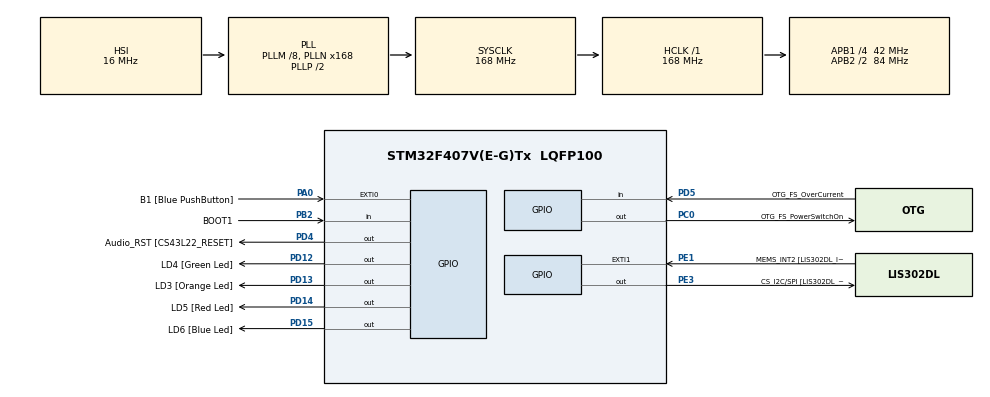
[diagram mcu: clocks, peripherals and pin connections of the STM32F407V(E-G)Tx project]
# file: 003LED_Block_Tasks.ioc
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Mcu.Family=STM32F4
Mcu.Name=STM32F407V(E-G)Tx
Mcu.Package=LQFP100
NVIC.PriorityGroup=NVIC_PRIORITYGROUP_4
NVIC.TIM6_DAC_IRQn=true\:0\:0\:false\:false\:true\:false\:true
NVIC.TimeBase=TIM6_DAC_IRQn
NVIC.TimeBaseIP=TIM6
PA0-WKUP.GPIO_Label=B1 [Blue PushButton]
PA0-WKUP.Signal=GPXTI0
PA10.GPIO_Label=OTG_FS_ID
PA10.GPIO_Mode=GPIO_MODE_AF_PP
PA10.GPIO_PuPd=GPIO_NOPULL
PA10.GPIO_Speed=GPIO_SPEED_FREQ_LOW
PA10.Signal=USB_OTG_FS_ID
PA11.GPIO_Label=OTG_FS_DM
PA11.GPIO_Mode=GPIO_MODE_AF_PP
PA11.GPIO_PuPd=GPIO_NOPULL
PA11.GPIO_Speed=GPIO_SPEED_FREQ_LOW
PA11.Signal=USB_OTG_FS_DM
PA12.GPIO_Label=OTG_FS_DP
PA12.GPIO_Mode=GPIO_MODE_AF_PP
PA12.GPIO_PuPd=GPIO_NOPULL
PA12.GPIO_Speed=GPIO_SPEED_FREQ_LOW
PA12.Signal=USB_OTG_FS_DP
PA13.GPIO_Label=SWDIO
PA13.Signal=SYS_JTMS-SWDIO
PA14.GPIO_Label=SWCLK
PA14.Signal=SYS_JTCK-SWCLK
PA4.GPIO_Label=I2S3_WS [CS43L22_LRCK]
PA4.GPIO_Mode=GPIO_MODE_AF_PP
PA4.GPIO_PuPd=GPIO_NOPULL
PA4.GPIO_Speed=GPIO_SPEED_FREQ_LOW
PA4.Signal=I2S3_WS
PA5.GPIO_Label=SPI1_SCK [LIS302DL_SCL/SPC]
PA5.GPIO_Mode=GPIO_MODE_AF_PP
PA5.GPIO_PuPd=GPIO_NOPULL
PA5.GPIO_Speed=GPIO_SPEED_FREQ_LOW
PA5.Signal=SPI1_SCK
PA6.GPIO_Label=SPI1_MISO [LIS302DL_SDO]
PA6.GPIO_Mode=GPIO_MODE_AF_PP
PA6.GPIO_PuPd=GPIO_NOPULL
PA6.GPIO_Speed=GPIO_SPEED_FREQ_LOW
PA6.Signal=SPI1_MISO
PA7.GPIO_Label=SPI1_MOSI [LIS302DL_SDA/SDI/SDO]
PA7.GPIO_Mode=GPIO_MODE_AF_PP
PA7.GPIO_PuPd=GPIO_NOPULL
PA7.GPIO_Speed=GPIO_SPEED_FREQ_LOW
PA7.Signal=SPI1_MOSI
PA9.GPIO_Label=VBUS_FS
PA9.GPIO_Mode=GPIO_MODE_INPUT
PA9.GPIO_PuPd=GPIO_NOPULL
PA9.Signal=USB_OTG_FS_VBUS
PB10.GPIO_Label=CLK_IN [MP45DT02_CLK]
PB10.GPIO_Mode=GPIO_MODE_AF_PP
PB10.GPIO_PuPd=GPIO_NOPULL
PB10.GPIO_Speed=GPIO_SPEED_FREQ_LOW
PB10.Signal=I2S2_CK
PB2.GPIO_Label=BOOT1
PB2.GPIO_Mode=GPIO_MODE_INPUT
PB2.GPIO_PuPd=GPIO_NOPULL
PB2.Signal=GPIO_Input
PB3.GPIO_Label=SWO
PB3.Signal=SYS_JTDO-SWO
PB6.GPIO_Label=Audio_SCL [CS43L22_SCL]
PB6.GPIO_Mode=GPIO_MODE_AF_OD
PB6.GPIO_PuPd=GPIO_NOPULL
PB6.GPIO_Speed=GPIO_SPEED_FREQ_LOW
PB6.Signal=I2C1_SCL
PB9.GPIO_Label=Audio_SDA [CS43L22_SDA]
PB9.GPIO_Mode=GPIO_MODE_AF_OD
PB9.GPIO_PuPd=GPIO_NOPULL
PB9.GPIO_Speed=GPIO_SPEED_FREQ_LOW
PB9.Signal=I2C1_SDA
PC0.GPIO_Label=OTG_FS_PowerSwitchOn
PC0.GPIO_PuPd=GPIO_NOPULL
PC0.GPIO_Speed=GPIO_SPEED_FREQ_LOW
PC0.PinState=GPIO_PIN_SET
PC0.Signal=GPIO_Output
PC10.GPIO_Label=I2S3_SCK [CS43L22_SCLK]
PC10.GPIO_Mode=GPIO_MODE_AF_PP
PC10.GPIO_PuPd=GPIO_NOPULL
PC10.GPIO_Speed=GPIO_SPEED_FREQ_LOW
PC10.Signal=I2S3_CK
PC12.GPIO_Label=I2S3_SD [CS43L22_SDIN]
PC12.GPIO_Mode=GPIO_MODE_AF_PP
PC12.GPIO_PuPd=GPIO_NOPULL
PC12.GPIO_Speed=GPIO_SPEED_FREQ_LOW
PC12.Signal=I2S3_SD
PC14-OSC32_IN.GPIO_Label=PC14-OSC32_IN
PC14-OSC32_IN.Signal=RCC_OSC32_IN
PC15-OSC32_OUT.GPIO_Label=PC15-OSC32_OUT
PC15-OSC32_OUT.Signal=RCC_OSC32_OUT
PC3.GPIO_Label=PDM_OUT [MP45DT02_DOUT]
PC3.GPIO_Mode=GPIO_MODE_AF_PP
PC3.GPIO_PuPd=GPIO_NOPULL
PC3.GPIO_Speed=GPIO_SPEED_FREQ_LOW
PC3.Signal=I2S2_SD
PC7.GPIO_Label=I2S3_MCK [CS43L22_MCLK]
PC7.GPIO_Mode=GPIO_MODE_AF_PP
PC7.GPIO_PuPd=GPIO_NOPULL
PC7.GPIO_Speed=GPIO_SPEED_FREQ_LOW
PC7.Signal=I2S3_MCK
PD12.GPIO_Label=LD4 [Green Led]
PD12.GPIO_PuPd=GPIO_NOPULL
PD12.GPIO_Speed=GPIO_SPEED_FREQ_LOW
PD12.Signal=GPIO_Output
PD13.GPIO_Label=LD3 [Orange Led]
PD13.GPIO_PuPd=GPIO_NOPULL
PD13.GPIO_Speed=GPIO_SPEED_FREQ_LOW
PD13.Signal=GPIO_Output
PD14.GPIO_Label=LD5 [Red Led]
PD14.GPIO_PuPd=GPIO_NOPULL
PD14.GPIO_Speed=GPIO_SPEED_FREQ_LOW
PD14.Signal=GPIO_Output
PD15.GPIO_Label=LD6 [Blue Led]
PD15.GPIO_PuPd=GPIO_NOPULL
PD15.GPIO_Speed=GPIO_SPEED_FREQ_LOW
PD15.Signal=GPIO_Output
PD4.GPIO_Label=Audio_RST [CS43L22_RESET]
PD4.GPIO_PuPd=GPIO_NOPULL
PD4.GPIO_Speed=GPIO_SPEED_FREQ_LOW
PD4.Signal=GPIO_Output
PD5.GPIO_Label=OTG_FS_OverCurrent
PD5.GPIO_Mode=GPIO_MODE_INPUT
PD5.GPIO_PuPd=GPIO_NOPULL
PD5.Signal=GPIO_Input
PE1.GPIO_Label=MEMS_INT2 [LIS302DL_INT2]
PE1.GPIO_ModeDefaultEXTI=GPIO_MODE_EVT_RISING
PE1.GPIO_PuPd=GPIO_NOPULL
PE1.Signal=GPXTI1
PE3.GPIO_Label=CS_I2C/SPI [LIS302DL_CS_I2C/SPI]
PE3.GPIO_PuPd=GPIO_NOPULL
PE3.GPIO_Speed=GPIO_SPEED_FREQ_LOW
PE3.Signal=GPIO_Output
PH0-OSC_IN.GPIO_Label=PH0-OSC_IN
PH0-OSC_IN.Signal=RCC_OSC_IN
PH1-OSC_OUT.GPIO_Label=PH1-OSC_OUT
PH1-OSC_OUT.Signal=RCC_OSC_OUT
ProjectManager.HeapSize=0x200
ProjectManager.StackSize=0x400
ProjectManager.TargetToolchain=STM32CubeIDE
RCC.48MHZClocksFreq_Value=48000000
RCC.AHBFreq_Value=168000000
RCC.APB1CLKDivider=RCC_HCLK_DIV4
RCC.APB1Freq_Value=42000000
RCC.APB1TimFreq_Value=84000000
RCC.APB2CLKDivider=RCC_HCLK_DIV2
RCC.APB2Freq_Value=84000000
RCC.APB2TimFreq_Value=168000000
RCC.CortexFreq_Value=168000000
RCC.HCLKFreq_Value=168000000
RCC.HSE_VALUE=8000000
RCC.HSI_VALUE=16000000
RCC.LSE_VALUE=32768
RCC.PLLM=8
RCC.PLLN=168
RCC.PLLQ=7
RCC.SYSCLKFreq_VALUE=168000000
RCC.SYSCLKSource=RCC_SYSCLKSOURCE_PLLCLK
RCC.VCOOutputFreq_Value=336000000
VP_SYS_VS_tim6.Mode=TIM6
board=STM32F407G-DISC1

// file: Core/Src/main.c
/* USER CODE BEGIN Header */
/**
  ******************************************************************************
  * @file           : main.c
  * @brief          : Main program body
  ******************************************************************************
  * @attention
  *
  * Copyright (c) 2024 STMicroelectronics.
  * All rights reserved.
  *
  * This software is licensed under terms that can be found in the LICENSE file
  * in the root directory of this software component.
  * If no LICENSE file comes with this software, it is provided AS-IS.
  *
  ******************************************************************************
  */
/* USER CODE END Header */
#include "main.h"

/* USER CODE BEGIN Includes */
#include<stdio.h>
#include"FreeRTOS.h"
#include"task.h"
/* USER CODE END Includes */

/* USER CODE BEGIN PV */

#define DWT_CTRL		(*(volatile uint32_t*)0xE0001000)

/* USER CODE END PV */

void SystemClock_Config(void);
static void MX_GPIO_Init(void);
/* USER CODE BEGIN PFP */
static void led_red_handler(void *parameters);
static void led_orange_handler(void *parameters);
static void led_green_handler(void *parameters);
/* USER CODE END PFP */

int main(void)
{
  /* USER CODE BEGIN 1 */
	BaseType_t status;
	TaskHandle_t task1_handle;
	TaskHandle_t task2_handle;
	TaskHandle_t task3_handle;

  /* USER CODE END 1 */

  /* MCU Configuration--------------------------------------------------------*/

  /* Reset of all peripherals, Initializes the Flash interface and the Systick. */
  HAL_Init();

  /* Configure the system clock */
  SystemClock_Config();

  /* Initialize all configured peripherals */
  MX_GPIO_Init();
  /* USER CODE BEGIN 2 */

  //Enable the CYCCNT counter
  DWT_CTRL |= (1<<0);

  SEGGER_UART_init(500000);

  SEGGER_SYSVIEW_Conf();

 // SEGGER_SYSVIEW_Start();  //this line is there in segger_uart.c under segger->config->Rec

  status=xTaskCreate(led_green_handler, "led_green_task", 200, NULL, 2, &task1_handle);

  configASSERT(status == pdPASS);

  status=xTaskCreate(led_orange_handler, "led_orange_task", 200, NULL, 2, &task2_handle);

  configASSERT(status == pdPASS);

  status=xTaskCreate(led_red_handler, "led_red_task", 200, NULL, 2, &task3_handle);

   configASSERT(status == pdPASS);

  //start the freeRTOS scheduler
  vTaskStartScheduler();

  //if the control comes here then the launch of scheduler has failed due to insufficient memory in the heap

  /* USER CODE END 2 */

  /* Infinite loop */
  while (1)
  {

  }
}

void SystemClock_Config(void)
{
  RCC_OscInitTypeDef RCC_OscInitStruct = {0};
  RCC_ClkInitTypeDef RCC_ClkInitStruct = {0};

  /** Configure the main internal regulator output voltage
  */
  __HAL_RCC_PWR_CLK_ENABLE();
  __HAL_PWR_VOLTAGESCALING_CONFIG(PWR_REGULATOR_VOLTAGE_SCALE1);
  /** Initializes the RCC Oscillators according to the specified parameters
  * in the RCC_OscInitTypeDef structure.
  */
  RCC_OscInitStruct.OscillatorType = RCC_OSCILLATORTYPE_HSI;
  RCC_OscInitStruct.HSIState = RCC_HSI_ON;
  RCC_OscInitStruct.HSICalibrationValue = RCC_HSICALIBRATION_DEFAULT;
  RCC_OscInitStruct.PLL.PLLState = RCC_PLL_ON;
  RCC_OscInitStruct.PLL.PLLSource = RCC_PLLSOURCE_HSI;
  RCC_OscInitStruct.PLL.PLLM = 8;
  RCC_OscInitStruct.PLL.PLLN = 168;
  RCC_OscInitStruct.PLL.PLLP = RCC_PLLP_DIV2;
  RCC_OscInitStruct.PLL.PLLQ = 7;
  if (HAL_RCC_OscConfig(&RCC_OscInitStruct) != HAL_OK)
  {
    Error_Handler();
  }
  /** Initializes the CPU, AHB and APB buses clocks
  */
  RCC_ClkInitStruct.ClockType = RCC_CLOCKTYPE_HCLK|RCC_CLOCKTYPE_SYSCLK
                              |RCC_CLOCKTYPE_PCLK1|RCC_CLOCKTYPE_PCLK2;
  RCC_ClkInitStruct.SYSCLKSource = RCC_SYSCLKSOURCE_PLLCLK;
  RCC_ClkInitStruct.AHBCLKDivider = RCC_SYSCLK_DIV1;
  RCC_ClkInitStruct.APB1CLKDivider = RCC_HCLK_DIV4;
  RCC_ClkInitStruct.APB2CLKDivider = RCC_HCLK_DIV2;

  if (HAL_RCC_ClockConfig(&RCC_ClkInitStruct, FLASH_LATENCY_5) != HAL_OK)
  {
    Error_Handler();
  }
}

static void MX_GPIO_Init(void)
{
  GPIO_InitTypeDef GPIO_InitStruct = {0};

  /* GPIO Ports Clock Enable */
  __HAL_RCC_GPIOE_CLK_ENABLE();
  __HAL_RCC_GPIOC_CLK_ENABLE();
  __HAL_RCC_GPIOH_CLK_ENABLE();
  __HAL_RCC_GPIOA_CLK_ENABLE();
  __HAL_RCC_GPIOB_CLK_ENABLE();
  __HAL_RCC_GPIOD_CLK_ENABLE();

  /*Configure GPIO pin Output Level */
  HAL_GPIO_WritePin(CS_I2C_SPI_GPIO_Port, CS_I2C_SPI_Pin, GPIO_PIN_RESET);

  /*Configure GPIO pin Output Level */
  HAL_GPIO_WritePin(OTG_FS_PowerSwitchOn_GPIO_Port, OTG_FS_PowerSwitchOn_Pin, GPIO_PIN_SET);

  /*Configure GPIO pin Output Level */
  HAL_GPIO_WritePin(GPIOD, LD4_Pin|LD3_Pin|LD5_Pin|LD6_Pin
                          |Audio_RST_Pin, GPIO_PIN_RESET);

  /*Configure GPIO pin : CS_I2C_SPI_Pin */
  GPIO_InitStruct.Pin = CS_I2C_SPI_Pin;
  GPIO_InitStruct.Mode = GPIO_MODE_OUTPUT_PP;
  GPIO_InitStruct.Pull = GPIO_NOPULL;
  GPIO_InitStruct.Speed = GPIO_SPEED_FREQ_LOW;
  HAL_GPIO_Init(CS_I2C_SPI_GPIO_Port, &GPIO_InitStruct);

  /*Configure GPIO pin : OTG_FS_PowerSwitchOn_Pin */
  GPIO_InitStruct.Pin = OTG_FS_PowerSwitchOn_Pin;
  GPIO_InitStruct.Mode = GPIO_MODE_OUTPUT_PP;
  GPIO_InitStruct.Pull = GPIO_NOPULL;
  GPIO_InitStruct.Speed = GPIO_SPEED_FREQ_LOW;
  HAL_GPIO_Init(OTG_FS_PowerSwitchOn_GPIO_Port, &GPIO_InitStruct);

  /*Configure GPIO pin : PDM_OUT_Pin */
  GPIO_InitStruct.Pin = PDM_OUT_Pin;
  GPIO_InitStruct.Mode = GPIO_MODE_AF_PP;
  GPIO_InitStruct.Pull = GPIO_NOPULL;
  GPIO_InitStruct.Speed = GPIO_SPEED_FREQ_LOW;
  GPIO_InitStruct.Alternate = GPIO_AF5_SPI2;
  HAL_GPIO_Init(PDM_OUT_GPIO_Port, &GPIO_InitStruct);

  /*Configure GPIO pin : B1_Pin */
  GPIO_InitStruct.Pin = B1_Pin;
  GPIO_InitStruct.Mode = GPIO_MODE_IT_RISING;
  GPIO_InitStruct.Pull = GPIO_NOPULL;
  HAL_GPIO_Init(B1_GPIO_Port, &GPIO_InitStruct);

  /*Configure GPIO pin : I2S3_WS_Pin */
  GPIO_InitStruct.Pin = I2S3_WS_Pin;
  GPIO_InitStruct.Mode = GPIO_MODE_AF_PP;
  GPIO_InitStruct.Pull = GPIO_NOPULL;
  GPIO_InitStruct.Speed = GPIO_SPEED_FREQ_LOW;
  GPIO_InitStruct.Alternate = GPIO_AF6_SPI3;
  HAL_GPIO_Init(I2S3_WS_GPIO_Port, &GPIO_InitStruct);

  /*Configure GPIO pins : SPI1_SCK_Pin SPI1_MISO_Pin SPI1_MOSI_Pin */
  GPIO_InitStruct.Pin = SPI1_SCK_Pin|SPI1_MISO_Pin|SPI1_MOSI_Pin;
  GPIO_InitStruct.Mode = GPIO_MODE_AF_PP;
  GPIO_InitStruct.Pull = GPIO_NOPULL;
  GPIO_InitStruct.Speed = GPIO_SPEED_FREQ_LOW;
  GPIO_InitStruct.Alternate = GPIO_AF5_SPI1;
  HAL_GPIO_Init(GPIOA, &GPIO_InitStruct);

  /*Configure GPIO pin : BOOT1_Pin */
  GPIO_InitStruct.Pin = BOOT1_Pin;
  GPIO_InitStruct.Mode = GPIO_MODE_INPUT;
  GPIO_InitStruct.Pull = GPIO_NOPULL;
  HAL_GPIO_Init(BOOT1_GPIO_Port, &GPIO_InitStruct);

  /*Configure GPIO pin : CLK_IN_Pin */
  GPIO_InitStruct.Pin = CLK_IN_Pin;
  GPIO_InitStruct.Mode = GPIO_MODE_AF_PP;
  GPIO_InitStruct.Pull = GPIO_NOPULL;
  GPIO_InitStruct.Speed = GPIO_SPEED_FREQ_LOW;
  GPIO_InitStruct.Alternate = GPIO_AF5_SPI2;
  HAL_GPIO_Init(CLK_IN_GPIO_Port, &GPIO_InitStruct);

  /*Configure GPIO pins : LD4_Pin LD3_Pin LD5_Pin LD6_Pin
                           Audio_RST_Pin */
  GPIO_InitStruct.Pin = LD4_Pin|LD3_Pin|LD5_Pin|LD6_Pin
                          |Audio_RST_Pin;
  GPIO_InitStruct.Mode = GPIO_MODE_OUTPUT_PP;
  GPIO_InitStruct.Pull = GPIO_NOPULL;
  GPIO_InitStruct.Speed = GPIO_SPEED_FREQ_LOW;
  HAL_GPIO_Init(GPIOD, &GPIO_InitStruct);

  /*Configure GPIO pins : I2S3_MCK_Pin I2S3_SCK_Pin I2S3_SD_Pin */
  GPIO_InitStruct.Pin = I2S3_MCK_Pin|I2S3_SCK_Pin|I2S3_SD_Pin;
  GPIO_InitStruct.Mode = GPIO_MODE_AF_PP;
  GPIO_InitStruct.Pull = GPIO_NOPULL;
  GPIO_InitStruct.Speed = GPIO_SPEED_FREQ_LOW;
  GPIO_InitStruct.Alternate = GPIO_AF6_SPI3;
  HAL_GPIO_Init(GPIOC, &GPIO_InitStruct);

  /*Configure GPIO pin : VBUS_FS_Pin */
  GPIO_InitStruct.Pin = VBUS_FS_Pin;
  GPIO_InitStruct.Mode = GPIO_MODE_INPUT;
  GPIO_InitStruct.Pull = GPIO_NOPULL;
  HAL_GPIO_Init(VBUS_FS_GPIO_Port, &GPIO_InitStruct);

  /*Configure GPIO pins : OTG_FS_ID_Pin OTG_FS_DM_Pin OTG_FS_DP_Pin */
  GPIO_InitStruct.Pin = OTG_FS_ID_Pin|OTG_FS_DM_Pin|OTG_FS_DP_Pin;
  GPIO_InitStruct.Mode = GPIO_MODE_AF_PP;
  GPIO_InitStruct.Pull = GPIO_NOPULL;
  GPIO_InitStruct.Speed = GPIO_SPEED_FREQ_LOW;
  GPIO_InitStruct.Alternate = GPIO_AF10_OTG_FS;
  HAL_GPIO_Init(GPIOA, &GPIO_InitStruct);

  /*Configure GPIO pin : OTG_FS_OverCurrent_Pin */
  GPIO_InitStruct.Pin = OTG_FS_OverCurrent_Pin;
  GPIO_InitStruct.Mode = GPIO_MODE_INPUT;
  GPIO_InitStruct.Pull = GPIO_NOPULL;
  HAL_GPIO_Init(OTG_FS_OverCurrent_GPIO_Port, &GPIO_InitStruct);

  /*Configure GPIO pins : Audio_SCL_Pin Audio_SDA_Pin */
  GPIO_InitStruct.Pin = Audio_SCL_Pin|Audio_SDA_Pin;
  GPIO_InitStruct.Mode = GPIO_MODE_AF_OD;
  GPIO_InitStruct.Pull = GPIO_NOPULL;
  GPIO_InitStruct.Speed = GPIO_SPEED_FREQ_LOW;
  GPIO_InitStruct.Alternate = GPIO_AF4_I2C1;
  HAL_GPIO_Init(GPIOB, &GPIO_InitStruct);

  /*Configure GPIO pin : MEMS_INT2_Pin */
  GPIO_InitStruct.Pin = MEMS_INT2_Pin;
  GPIO_InitStruct.Mode = GPIO_MODE_EVT_RISING;
  GPIO_InitStruct.Pull = GPIO_NOPULL;
  HAL_GPIO_Init(MEMS_INT2_GPIO_Port, &GPIO_InitStruct);

}

/* USER CODE BEGIN 4 */

static void led_green_handler(void *parameters)
{

	TickType_t last_wakeup_time;
	last_wakeup_time= xTaskGetTickCount();
	while(1)
	{

		SEGGER_SYSVIEW_PrintfTarget("Toggling green led");
		HAL_GPIO_TogglePin(GPIOD, LED_GREEN_PIN);
		//vTaskDelay(pdMS_TO_TICKS(1000));
		vTaskDelayUntil(&last_wakeup_time,pdMS_TO_TICKS(1000));
	}
}

static void led_orange_handler(void *parameters)
{
	TickType_t last_wakeup_time;
	last_wakeup_time= xTaskGetTickCount();
	while(1)
	{
		SEGGER_SYSVIEW_PrintfTarget("Toggling orange led");
		HAL_GPIO_TogglePin(GPIOD, LED_ORANGE_PIN);
		//vTaskDelay(pdMS_TO_TICKS(800));
		vTaskDelayUntil(&last_wakeup_time,pdMS_TO_TICKS(800));
	}
}

static void led_red_handler(void *parameters)
{
	TickType_t last_wakeup_time;
	last_wakeup_time= xTaskGetTickCount();
	while(1)
	{
		SEGGER_SYSVIEW_PrintfTarget("Toggling red led");
		HAL_GPIO_TogglePin(GPIOD, LED_RED_PIN);
		//vTaskDelay(pdMS_TO_TICKS(400));
		vTaskDelayUntil(&last_wakeup_time,pdMS_TO_TICKS(400));

	}

}

void vApplicationIdleHook( void )
{

	HAL_PWR_EnterSLEEPMode(PWR_MAINREGULATOR_ON, PWR_SLEEPENTRY_WFI);
}

/* USER CODE END 4 */

void HAL_TIM_PeriodElapsedCallback(TIM_HandleTypeDef *htim)
{
  if (htim->Instance == TIM6) {
    HAL_IncTick();
  }
}

void Error_Handler(void)
{
  __disable_irq();
  while (1)
  {
  }
}
